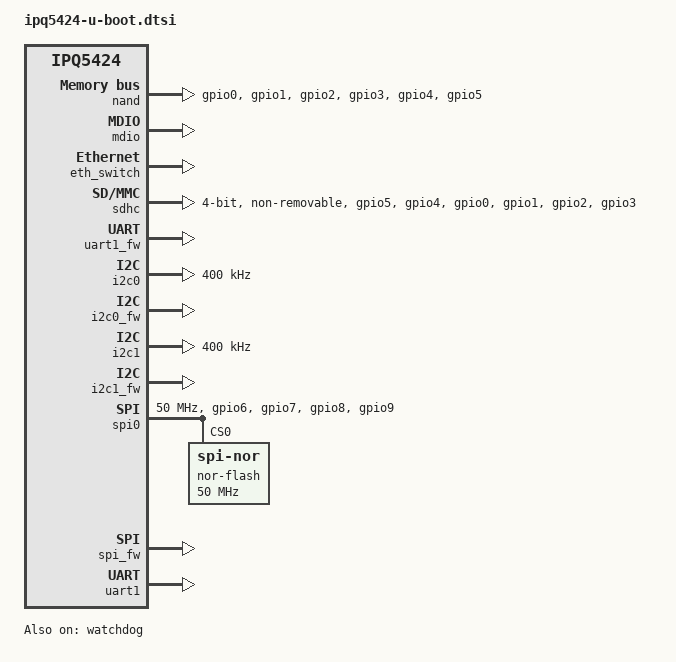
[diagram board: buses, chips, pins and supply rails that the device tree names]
// SPDX-License-Identifier: GPL-2.0+
/*
 * Copyright (c) Qualcomm Technologies, Inc. and/or its subsidiaries.
 */

/ {

	chosen {
		stdout-path = "serial0:115200n8";
	};

	reserved-memory {

		/delete-node/ smem;
		smem_mem: smem_region@8a800000 {
			reg = <0x0 0x8a800000 0x0 0x32000>;
			no-map;
		};

		atf@8a832000 {
			reg = <0x0 0x8a832000 0x0 0x80000>;
			no-map;
		};
	};

	smem {
		compatible = "qcom,smem";
		memory-region = <&smem_mem>;
		hwlocks = <&tcsr_mutex 3>;
	};

	soc@0 {
		nand: nand-controller@79B0000 {
			compatible = "qti,spi-nand-v2.1.3";
			#address-cells = <2>;
			#size-cells = <2>;
			reg = <0x0 0x79B0000 0x0 0x10000>;
			assigned-clocks = <&gcc GCC_QPIC_CLK>,
					 <&gcc GCC_QPIC_IO_MACRO_CLK>;
			assigned-clock-rates = <100000000>, <200000000>;
			max_clk_frequency = <400000000>;
			clock-names = "qpic-clk",
				      "qpic-io-macro-clk",
				      "qpic-ahb-clk";
			clocks = <&gcc GCC_QPIC_CLK>,
				<&gcc GCC_QPIC_IO_MACRO_CLK>,
				<&gcc GCC_QPIC_AHB_CLK>;

			bam_reg = <0x07984000>;
			status_pipe = <3>;
			status_pipe_grp = <0>;
			read_pipe = <1>;
			read_pipe_grp = <0>;
			write_pipe = <0>;
			write_pipe_grp = <0>;
			cmd_pipe = <2>;
			cmd_pipe_grp = <1>;
			serial_training;
			pinctrl-0 = <&qspi_pinmux>;
			pinctrl-names = "default";
			status = "okay";
		};

		nss: clock-controller@39B00000 {
			compatible = "qcom,ipq5424-gcc";
			reg = <0 0x39B00000 0 0x80000>;
			#address-cells = <0x1>;
			#size-cells = <0x1>;
			#clock-cells = <1>;
			#reset-cells = <1>;
		};

		mdio: mdio@90000 {
			#address-cells = <1>;
			#size-cells = <1>;
			compatible = "qcom,ipq4019-mdio";
			reg = <0x00000000 0x00090000 0x00000000 0x00000064>;
			clocks = <&gcc GCC_MDIO_AHB_CLK>;
			clk_div = /bits/ 8 <15>;
			status = "okay";
		};

		eth_switch: nss-switch {
			compatible = "qti,ipq-nss-switch";
			#address-cells = <2>;
			#size-cells = <2>;
			reg = <0x0 0x3ab00000 0x0 0x000EF800
				0x0 0x3A000000 0x0 0x01000000
				0x0 0x07A00000 0x0 0x00010000>;
			reg-names = "edma_hw", "ppe_base", "uniphy_base";
			assigned-clocks = <&gcc GCC_PCNOC_BFDCD_CLK>,
					  <&gcc GCC_SYSTEM_NOC_BFDCD_CLK>,
					  <&gcc GCC_NSSNOC_MEMNOC_BFDCD_CLK>,
					  <&nss NSS_CC_PPE_CLK>,
					  <&nss NSS_CC_CE_CLK>,
					  <&nss NSS_CC_CFG_CLK>;

			assigned-clock-rates = <100000000>,
					<266666667>,
					<375000000>,
					<375000000>,
					<375000000>,
					<100000000>;
			clocks = <&gcc GCC_IM_SLEEP_CLK>,
				<&nss NSS_CC_NSS_CSR_CLK>,
				<&nss NSS_CC_NSSNOC_NSS_CSR_CLK>,
				<&nss NSS_CC_CE_APB_CLK>,
				<&nss NSS_CC_CE_AXI_CLK>,
				<&nss NSS_CC_NSSNOC_CE_APB_CLK>,
				<&nss NSS_CC_NSSNOC_CE_AXI_CLK>,
				<&gcc GCC_CMN_12GPLL_AHB_CLK>,
				<&gcc GCC_CMN_12GPLL_SYS_CLK>,
				<&gcc GCC_NSSCC_CLK>,
				<&gcc GCC_NSSCFG_CLK>,
				<&gcc GCC_NSSNOC_NSSCC_CLK>,
				<&gcc GCC_NSSNOC_SNOC_CLK>,
				<&gcc GCC_NSSNOC_SNOC_1_CLK>,
				<&gcc GCC_NSSNOC_MEMNOC_CLK>,
				<&gcc GCC_NSSNOC_MEMNOC_1_CLK>,
				<&gcc GCC_UNIPHY0_SYS_CLK>,
				<&gcc GCC_UNIPHY1_SYS_CLK>,
				<&gcc GCC_UNIPHY2_SYS_CLK>,
				<&gcc GCC_UNIPHY0_AHB_CLK>,
				<&gcc GCC_UNIPHY1_AHB_CLK>,
				<&gcc GCC_UNIPHY2_AHB_CLK>,
				<&nss NSS_CC_PORT1_MAC_CLK>,
				<&nss NSS_CC_PORT2_MAC_CLK>,
				<&nss NSS_CC_PORT3_MAC_CLK>,
				<&nss NSS_CC_NSSNOC_PPE_CLK>,
				<&nss NSS_CC_NSSNOC_PPE_CFG_CLK>,
				<&nss NSS_CC_PPE_EDMA_CLK>,
				<&nss NSS_CC_PPE_EDMA_CFG_CLK>,
				<&nss NSS_CC_PPE_SWITCH_CLK>,
				<&nss NSS_CC_PPE_SWITCH_IPE_CLK>,
				<&nss NSS_CC_PPE_SWITCH_BTQ_CLK>,
				<&nss NSS_CC_PORT1_RX_CLK>,
				<&nss NSS_CC_PORT1_TX_CLK>,
				<&nss NSS_CC_PORT2_RX_CLK>,
				<&nss NSS_CC_PORT2_TX_CLK>,
				<&nss NSS_CC_PORT3_RX_CLK>,
				<&nss NSS_CC_PORT3_TX_CLK>,
				<&nss NSS_CC_UNIPHY_PORT1_RX_CLK>,
				<&nss NSS_CC_UNIPHY_PORT1_TX_CLK>,
				<&nss NSS_CC_UNIPHY_PORT2_RX_CLK>,
				<&nss NSS_CC_UNIPHY_PORT2_TX_CLK>,
				<&nss NSS_CC_UNIPHY_PORT3_RX_CLK>,
				<&nss NSS_CC_UNIPHY_PORT3_TX_CLK>,
				<&nss UNIPHY0_NSS_RX_CLK>,
				<&nss UNIPHY0_NSS_TX_CLK>,
				<&nss UNIPHY1_NSS_RX_CLK>,
				<&nss UNIPHY1_NSS_TX_CLK>,
				<&nss UNIPHY2_NSS_RX_CLK>,
				<&nss UNIPHY2_NSS_TX_CLK>;
			clock-names = "gcc_im_sleep_clk",
				"nss_cc_nss_csr_clk",
				"nss_cc_nssnoc_nss_csr_clk",
				"nss_cc_ce_ape_clk",
				"nss_cc_ce_axi_clk",
				"nss_cc_nssnoc_ce_apb_clk",
				"nss_cc_nssnoc_ce_axi_clk",
				"gcc_cmn_12gpll_ahb_clk",
				"gcc_cmn_12gpll_sys_clk",
				"gcc_nsscc_clk",
				"gcc_nsscfg_clk",
				"gcc_nssnoc_nsscc_clk",
				"gcc_nssnoc_snoc_clk",
				"gcc_nssnoc_snoc_1_clk",
				"gcc_nssnoc_memnoc_clk",
				"gcc_nssnoc_memnoc_1_clk",
				"gcc_uniphy0_sys_clk",
				"gcc_uniphy1_sys_clk",
				"gcc_uniphy2_sys_clk",
				"gcc_uniphy0_ahb_clk",
				"gcc_uniphy1_ahb_clk",
				"gcc_uniphy2_ahb_clk",
				"nss_cc_port1_mac_clk",
				"nss_cc_port2_mac_clk",
				"nss_cc_port3_mac_clk",
				"nss_cc_nssnoc_ppe_clk",
				"nss_cc_nssnoc_ppe_cfg_clk",
				"nss_cc_ppe_edma_clk",
				"nss_cc_ppe_edma_cfg_clk",
				"nss_cc_ppe_switch_clk",
				"nss_cc_ppe_switch_ipe_clk",
				"nss_cc_ppe_switch_btq_clk",
				"nss_cc_port1_rx_clk",
				"nss_cc_port1_tx_clk",
				"nss_cc_port2_rx_clk",
				"nss_cc_port2_tx_clk",
				"nss_cc_port3_rx_clk",
				"nss_cc_port3_tx_clk",
				"nss_cc_uniphy_port1_rx_clk",
				"nss_cc_uniphy_port1_tx_clk",
				"nss_cc_uniphy_port2_rx_clk",
				"nss_cc_uniphy_port2_tx_clk",
				"nss_cc_uniphy_port3_rx_clk",
				"nss_cc_uniphy_port3_tx_clk",
				"uniphy0_nss_rx_clk",
				"uniphy0_nss_tx_clk",
				"uniphy1_nss_rx_clk",
				"uniphy1_nss_tx_clk",
				"uniphy2_nss_rx_clk",
				"uniphy2_nss_tx_clk";
			resets = <&gcc GCC_UNIPHY0_BCR>,
				<&gcc GCC_UNIPHY1_BCR>,
				<&gcc GCC_UNIPHY2_BCR>,
				<&gcc GCC_UNIPHY0_AHB_RESET>,
				<&gcc GCC_UNIPHY1_AHB_RESET>,
				<&gcc GCC_UNIPHY2_AHB_RESET>,
				<&gcc GCC_UNIPHY0_SOFT_RESET>,
				<&gcc GCC_UNIPHY1_SOFT_RESET>,
				<&gcc GCC_UNIPHY2_SOFT_RESET>,
				<&gcc GCC_UNIPHY0_XPCS_RESET>,
				<&gcc GCC_UNIPHY1_XPCS_RESET>,
				<&gcc GCC_UNIPHY2_XPCS_RESET>,
				<&nss NSS_CC_PPE_BCR>,
				<&nss NSS_CC_PORT1_TX_RESET>,
				<&nss NSS_CC_PORT1_RX_RESET>,
				<&nss NSS_CC_PORT2_TX_RESET>,
				<&nss NSS_CC_PORT2_RX_RESET>,
				<&nss NSS_CC_PORT3_TX_RESET>,
				<&nss NSS_CC_PORT3_RX_RESET>,
				<&nss NSS_CC_PORT1_MAC_RESET>,
				<&nss NSS_CC_PORT2_MAC_RESET>,
				<&nss NSS_CC_PORT3_MAC_RESET>;
			reset-names = "uniphy0_bcr",
				"uniphy1_bcr",
				"uniphy2_bcr",
				"uniphy0_ahb",
				"uniphy1_ahb",
				"uniphy2_ahb",
				"uniphy0_srst",
				"uniphy1_srst",
				"uniphy2_srst",
				"uniphy0_xrst",
				"uniphy1_xrst",
				"uniphy2_xrst",
				"nss_cc_ppe_bcr",
				"nss_cc_port1_tx",
				"nss_cc_port1_rx",
				"nss_cc_port2_tx",
				"nss_cc_port2_rx",
				"nss_cc_port3_tx",
				"nss_cc_port3_rx",
				"nss_cc_port1_mac",
				"nss_cc_port2_mac",
				"nss_cc_port3_mac";
			tdm_offset = <0xc000>;
			tdm_mode = <0>;
			no_tdm_reg = <126>;
			bridge_mode;
			status = "okay";
		};

		watchdog: non-sec@f410000 {
			compatible = "qcom,apss-wdt-ipq5424", "qcom,kpss-wdt";
			#address-cells = <2>;
			#size-cells = <2>;
			reg =  <0x0 0xf410000 0x0 0x1000>;
			clocks = <&sleep_clk>;
			timeout-sec = <30>;
			status = "okay";
		};
	};
};

&tlmm {
	uart1_pins: uart1-state {
		bootph-all;
	};

	sdc_default_state: sdc-default-state {
		clk-pins {
			pins = "gpio5";
			function = "sdc_clk";
			drive-strength = <8>;
			bias-disable;
		};

		cmd-pins {
			pins = "gpio4";
			function = "sdc_cmd";
			drive-strength = <8>;
			bias-pull-up;
		};

		data-pins {
			pins = "gpio0", "gpio1", "gpio2", "gpio3";
			function = "sdc_data";
			drive-strength = <8>;
			bias-pull-up;
		};
	};

	spi0_pinmux: spi0 {
		spi0_sclk {
			pins = "gpio6";
			function = "spi0_clk";
			drive-strength = <8>;
			bias-pull-down;
		};

		spi0_cs0 {
			pins = "gpio7";
			function = "spi0_cs";
			drive-strength = <8>;
			bias-pull-up;
		};

		spi0_miso {
			pins = "gpio8";
			function = "spi0_miso";
			drive-strength = <8>;
			bias-pull-down;
		};

		spi0_mosi {
			pins = "gpio9";
			function = "spi0_mosi";
			drive-strength = <8>;
			bias-pull-down;
		};
	};

	qspi_pinmux: nand {
		qspi_data {
			pins = "gpio0", "gpio1", "gpio2","gpio3";
			function = "qspi_data";
			drive-strength = <8>;
			bias-pull-up;
		};

		qspi_cs_n {
			pins = "gpio4";
			function = "qspi_cs";
			drive-strength = <8>;
			bias-pull-up;
                };

		qspi_clk {
			pins = "gpio5";
			function = "qspi_clk";
			drive-strength = <8>;
			bias-disable;
		};
        };
};

&sdhc {
	bus-width = <4>;
	max-frequency = <192000000>;
	mmc-ddr-1_8v;
	non-removable;
	pinctrl-0 = <&sdc_default_state>;
	pinctrl-names = "default";
	sdhci-caps-mask = <0x0 0x04000000>;
	sdhci-caps = <0x0 0x04000000>;
	resets = <&gcc GCC_SDCC_BCR>;
	reset-names = "bcr_rst";
	status = "okay";
};

&qupv3 {
	uart1_fw: uart_firmware@0 {
		compatible = "qcom,ipq5424-geni-uart-fw-v1",
			     "qcom,geni-uart-fw-v1";
		reg = <0 0x01a84000 0 0x4000>;
		status = "okay";
	};

	i2c0: i2c@1a88000 {
		compatible = "qcom,geni-i2c";
		reg = <0x0 0x1a88000 0x0 0x4000>;
		reg-names = "se_phys";
		assigned-clocks = <&gcc GCC_QUPV3_I2C0_CLK>;
		assigned-clock-rates = <64000000>;
		clocks = <&gcc GCC_QUPV3_I2C0_CLK>;
		clock-names = "se";
		clock-frequency = <400000>;
		qup-se-fw-load = <&i2c0_fw>;
		qcom,geni-se-clk-32mhz;
	};

	i2c0_fw: i2c0_firmware@0 {
		compatible = "qcom,ipq5424-geni-i2c-fw-v1",
			     "qcom,geni-i2c-fw-v1";
		reg = <0x0 0x1a88000 0x0 0x4000>;
		status = "okay";
	};

	i2c1: i2c@1a8c000 {
		compatible = "qcom,geni-i2c";
		reg = <0x0 0x1a8c000 0x0 0x4000>;
		reg-names = "se_phys";
		assigned-clocks = <&gcc GCC_QUPV3_I2C1_CLK>;
		assigned-clock-rates = <64000000>;
		clocks = <&gcc GCC_QUPV3_I2C1_CLK>;
		clock-names = "se";
		clock-frequency = <400000>;
		qup-se-fw-load = <&i2c1_fw>;
		qcom,geni-se-clk-32mhz;
	};

	i2c1_fw: i2c1_firmware@0 {
		compatible = "qcom,ipq5424-geni-i2c-fw-v1",
			     "qcom,geni-i2c-fw-v1";
		reg = <0x0 0x1a8c000 0x0 0x4000>;
		status = "okay";
	};

	spi0: spi@1a90000 {
		compatible = "qcom-ipq5424-geni-spi";
		reg = <0 0x1a90000 0 0x4000>;
		reg-names = "se_phys";
		clocks = <&gcc GCC_QUPV3_SPI0_CLK>;
		clock-names = "se-spi-clk";
		clock-frequency = <50000000>;
		nor-blk-enable;
		status = "okay";
		#address-cells = <1>;
		#size-cells = <0>;
		qup-se-fw-load = <&spi_fw>;

		pinctrl-0 = <&spi0_pinmux>;
		pinctrl-names = "default";

		nor-flash@0 {
			compatible = "jedec,spi-nor";
			reg = <0 0 0 0>;
			spi-max-frequency = <50000000>;
		};
	};

	spi_fw: spi_firmware@0 {
		compatible = "qcom,ipq5424-geni-spi-fw-v1",
			     "qcom,geni-spi-fw-v1";
		reg = <0 0x1a90000 0 0x4000>;
		reg-names = "se_phys";
	};

	se5: se5@1a94000 {
		reg = <0 0x1a94000 0 0x4000>;
		reg-names = "se_phys";
	};
};

&sleep_clk {
	clock-frequency = <32000>;
};

&uart1 {
	pinctrl-0 = <&uart1_pins>;
	pinctrl-names = "default";
	qup-se-fw-load = <&uart1_fw>;
	status = "okay";
};

&xo_board {
	clock-frequency = <24000000>;
};
